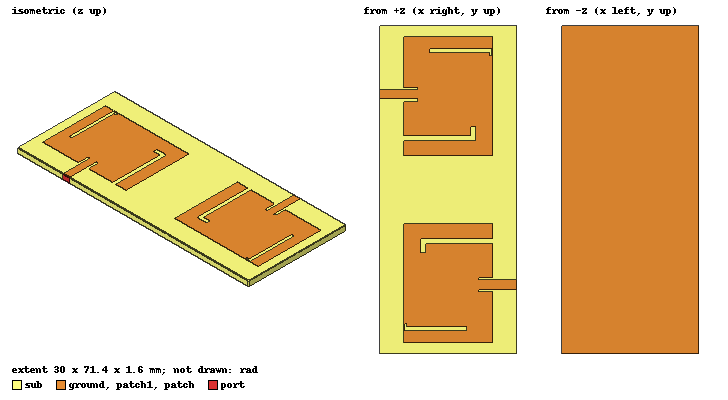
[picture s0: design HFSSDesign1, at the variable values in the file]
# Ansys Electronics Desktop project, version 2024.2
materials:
  vacuum: permittivity=1
  FR4_epoxy: permittivity=4.4 dielectric_loss_tangent=0.02
  air: permittivity=1.0006 permeability=1.0000004

design HFSSDesign1 (HFSS, HFSS Terminal Network, model units mm)
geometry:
  ground = rectangle(corner=(0mm, 0mm, 0mm), x_size=30mm, y_size=71.4mm)
  sub [FR4_epoxy] = box(corner=(0mm, 0mm, 0mm), size=(30mm, 71.4mm, 1.6mm))
  patch = rectangle(corner=(5.295mm, 2.4mm, 1.6mm), x_size=19.41mm, y_size=25.8mm)
  port = rectangle(corner=(30mm, 14mm, 1.6mm), y_size=2mm, z_size=-1.6mm)
  rad [air] = box(corner=(-20mm, -20mm, -30mm), size=(60mm, 110mm, 60mm))
  Polyline1 [non-model] = polyline((6mm, 7mm, 0mm) (7mm, 7mm, 0mm))
  Rectangle1 = rectangle(corner=(30mm, 14mm, 1.6mm), x_size=-14mm, y_size=2mm)
  patch.unite(Rectangle1)
  Rectangle2 = rectangle(corner=(24.705mm, 14mm, 1.6mm), x_size=-3mm, y_size=-0.6mm)
  Rectangle3 = rectangle(corner=(24.705mm, 16mm, 1.6mm), x_size=-3mm, y_size=0.6mm)
  patch.subtract(Rectangle2, Rectangle3)
  Rectangle4 = rectangle(corner=(9mm, 25mm, 1.6mm), x_size=15.7mm, y_size=-1mm)
  patch.subtract(Rectangle4)
  Rectangle5 = rectangle(corner=(19mm, 5mm, 1.6mm), x_size=-13.5mm, y_size=0.8mm)
  patch.subtract(Rectangle5)
  Rectangle6 = rectangle(corner=(9mm, 25mm, 1.6mm), x_size=1mm, y_size=-3mm)
  patch.subtract(Rectangle6)
  Rectangle7 = rectangle(corner=(5.5mm, 5mm, 1.6mm), x_size=0.5mm, y_size=1.58mm)
  patch.subtract(Rectangle7)
  patch1 = rectangle(corner=(5.295mm, 43.2mm, 1.6mm), x_size=19.41mm, y_size=25.8mm)
  Rectangle8 = rectangle(corner=(0mm, 57.4mm, 1.6mm), x_size=14mm, y_size=-2mm)
  patch1.unite(Rectangle8)
  Rectangle9 = rectangle(corner=(5.295mm, 57.4mm, 1.6mm), x_size=3mm, y_size=0.6mm)
  Rectangle10 = rectangle(corner=(5.295mm, 55.4mm, 1.6mm), x_size=3mm, y_size=-0.6mm)
  patch1.subtract(Rectangle10, Rectangle9)
  Rectangle11 = rectangle(corner=(21mm, 46.4mm, 1.6mm), x_size=-15.7mm, y_size=1mm)
  patch1.subtract(Rectangle11)
  Rectangle12 = rectangle(corner=(21mm, 46.4mm, 1.6mm), x_size=-1mm, y_size=3mm)
  patch1.subtract(Rectangle12)
  Rectangle13 = rectangle(corner=(11mm, 66.4mm, 1.6mm), x_size=13.5mm, y_size=-0.8mm)
  patch1.subtract(Rectangle13)
  Rectangle14 = rectangle(corner=(24.5mm, 66.4mm, 1.6mm), x_size=-0.5mm, y_size=-1.58mm)
  patch1.subtract(Rectangle14)
  Rectangle15 = rectangle(corner=(0mm, 57.4mm, 1.6mm), y_size=-2mm, z_size=-1.6mm)
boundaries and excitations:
  PerfE1: Perfect E Objects=[ground, patch]
  Rad1: Radiation Objects=rad
  PerfE2: Perfect E Objects=patch1
  1: Lumped Port Objects=port LumpedPortType=Modal Modes{Mode1{IntLine{(30, 15, 0) -> (30, 15, 1.6)} CharImp=Zpi}} Impedance=50ohm
  2: Lumped Port Objects=Rectangle15 LumpedPortType=Modal Modes{Mode1{IntLine{(0, 56.4, 0) -> (0, 56.4, 1.6)} CharImp=Zpi}} Impedance=50ohm
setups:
  Setup1: HfssDriven Frequency=3.6GHz MaxDeltaS=0.02 MaximumPasses=20 MinimumPasses=1 MinimumConvergedPasses=1 PercentRefinement=30 BasisOrder=1 Target=1 PortAccuracy=2 DrivenSolverType="Direct Solver"
    sweep Sweep: 1GHz to 6GHz step 0.01GHz; Type=Fast SaveFields
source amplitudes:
  1:1: 1V 0deg
  2:1: 0V 0deg
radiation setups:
  Infinite Sphere1: Infinite Sphere Theta=0deg..360deg step 10deg Phi=0deg..360deg step 10deg
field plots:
  Mag_E1: E Field over patch.face(at (17.6475, 15.3, 1.6)) patch1.face(at (12.3525, 56.1, 1.6)) on Setup1 : LastAdaptive at Freq=3.6GHz Phase=5deg
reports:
  Gain Plot 1: dB(GainTotal) vs Theta on Setup1 : Sweep, Infinite Sphere1 [Phi=all Freq=3.6GHz]; markers m1 at 360deg
  S Parameter Plot 1: dB(S(1,1)) vs Freq on Setup1 : Sweep; markers m1 at 3.63GHz, m2 at 3.67GHz, m3 at 3.66GHz, m4 at 3.66GHz
  S Parameter Plot 2: dB(S(2,1)) vs Freq on Setup1 : Sweep; markers m1 at 3.6GHz, m2 at 3.67GHz
  S Parameter Plot 3: dB(S(1,2)) vs Freq on Setup1 : Sweep; markers m1 at 3.51GHz, m2 at 3.67GHz
  S Parameter Plot 4: dB(S(2,2)) vs Freq on Setup1 : Sweep; markers m1 at 3.66GHz
